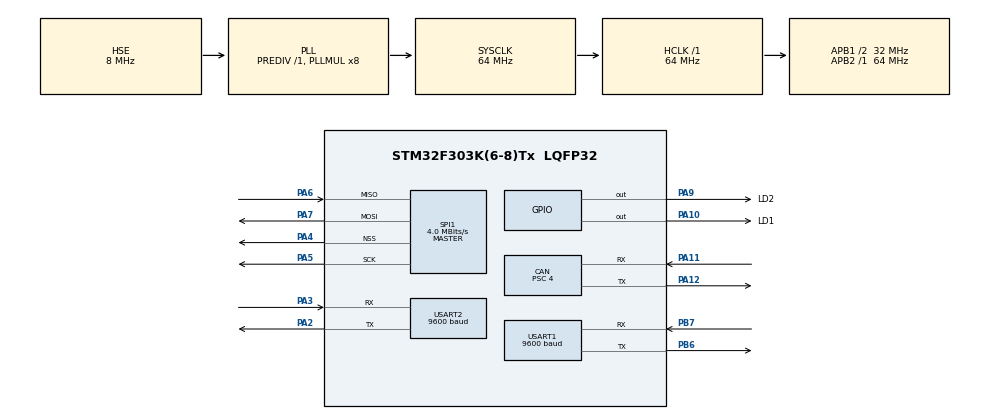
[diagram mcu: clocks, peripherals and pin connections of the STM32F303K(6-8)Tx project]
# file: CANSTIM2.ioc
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CAN.ABOM=ENABLE
CAN.AWUM=DISABLE
CAN.BS1=CAN_BS1_5TQ
CAN.BS2=CAN_BS2_2TQ
CAN.CalculateBaudRate=1000000
CAN.CalculateTimeBit=1000.00
CAN.CalculateTimeQuantum=125.0
CAN.Mode=CAN_MODE_NORMAL
CAN.NART=DISABLE
CAN.Prescaler=4
CAN.RFLM=DISABLE
CAN.SJW=CAN_SJW_2TQ
CAN.TTCM=DISABLE
CAN.TXFP=DISABLE
FREERTOS.BinarySemaphores01=ProcessCommandSem,Dynamic,NULL;MailboxAvailable,Dynamic,NULL
FREERTOS.Tasks01=CAN_Tx_MB0,24,128,StartCAN_Tx_MB0,Default,NULL,Dynamic,NULL,NULL;SendTelemetry,24,128,StartSendTelemetry,Default,NULL,Dynamic,NULL,NULL;CAN_Tx_MB1,24,128,StartCAN_Tx_MB1,Default,NULL,Dynamic,NULL,NULL;CAN_Tx_MB2,24,128,StartCAN_Tx_MB2,Default,NULL,Dynamic,NULL,NULL
FREERTOS.configUSE_IDLE_HOOK=1
Mcu.Family=STM32F3
Mcu.Name=STM32F303K(6-8)Tx
Mcu.Package=LQFP32
NVIC.CAN_RX0_IRQn=true\:5\:0\:false\:true\:true\:1\:true\:true\:true
NVIC.CAN_RX1_IRQn=true\:5\:0\:false\:true\:true\:2\:true\:true\:true
NVIC.CAN_TX_IRQn=true\:5\:0\:false\:false\:true\:true\:true\:true
NVIC.PriorityGroup=NVIC_PRIORITYGROUP_4
NVIC.SPI1_IRQn=true\:5\:0\:false\:false\:true\:true\:true\:true
NVIC.TIM1_UP_TIM16_IRQn=true\:0\:0\:false\:false\:true\:false\:false\:true
NVIC.TimeBase=TIM1_UP_TIM16_IRQn
NVIC.TimeBaseIP=TIM1
NVIC.USART2_IRQn=true\:5\:0\:false\:true\:true\:3\:true\:true\:true
PA10.GPIO_Label=LD1
PA10.Signal=GPIO_Output
PA11.Mode=CAN_Activate
PA11.Signal=CAN_RX
PA12.Mode=CAN_Activate
PA12.Signal=CAN_TX
PA13.Mode=JTAG_4_pins
PA13.Signal=SYS_JTMS-SWDIO
PA14.Mode=JTAG_4_pins
PA14.Signal=SYS_JTCK-SWCLK
PA15.Mode=JTAG_4_pins
PA15.Signal=SYS_JTDI
PA2.Mode=Asynchronous
PA2.Signal=USART2_TX
PA3.Mode=Asynchronous
PA3.Signal=USART2_RX
PA4.Mode=NSS_Signal_Hard_Output
PA4.Signal=SPI1_NSS
PA5.Mode=Full_Duplex_Master
PA5.Signal=SPI1_SCK
PA6.Mode=Full_Duplex_Master
PA6.Signal=SPI1_MISO
PA7.Mode=Full_Duplex_Master
PA7.Signal=SPI1_MOSI
PA9.GPIO_Label=LD2
PA9.Signal=GPIO_Output
PB3.Mode=JTAG_4_pins
PB3.Signal=SYS_JTDO-TRACESWO
PB6.Mode=Asynchronous
PB6.Signal=USART1_TX
PB7.Mode=Asynchronous
PB7.Signal=USART1_RX
PF0\ /\ OSC_IN.Mode=HSE-External-Oscillator
PF0\ /\ OSC_IN.Signal=RCC_OSC_IN
PF1\ /\ OSC_OUT.Mode=HSE-External-Oscillator
PF1\ /\ OSC_OUT.Signal=RCC_OSC_OUT
ProjectManager.HeapSize=0x200
ProjectManager.StackSize=0x400
ProjectManager.TargetToolchain=STM32CubeIDE
RCC.AHBFreq_Value=64000000
RCC.APB1CLKDivider=RCC_HCLK_DIV2
RCC.APB1Freq_Value=32000000
RCC.APB1TimFreq_Value=64000000
RCC.APB2Freq_Value=64000000
RCC.APB2TimFreq_Value=64000000
RCC.CortexFreq_Value=64000000
RCC.HCLKFreq_Value=64000000
RCC.HSE_VALUE=8000000
RCC.HSI_VALUE=8000000
RCC.PLLMUL=RCC_PLL_MUL8
RCC.PLLSourceVirtual=RCC_PLLSOURCE_HSE
RCC.SYSCLKFreq_VALUE=64000000
RCC.SYSCLKSourceVirtual=RCC_SYSCLKSOURCE_PLLCLK
SPI1.BaudRatePrescaler=SPI_BAUDRATEPRESCALER_16
SPI1.CLKPhase=SPI_PHASE_1EDGE
SPI1.CLKPolarity=SPI_POLARITY_HIGH
SPI1.CalculateBaudRate=4.0 MBits/s
SPI1.DataSize=SPI_DATASIZE_16BIT
SPI1.Direction=SPI_DIRECTION_2LINES
SPI1.FirstBit=SPI_FIRSTBIT_MSB
SPI1.Mode=SPI_MODE_MASTER
SPI1.NSSPMode=SPI_NSS_PULSE_DISABLE
SPI1.TIMode=SPI_TIMODE_DISABLE
SPI1.VirtualNSS=VM_NSSHARD
SPI1.VirtualType=VM_MASTER
USART1.BaudRate=9600
USART1.VirtualMode-Asynchronous=VM_ASYNC
USART2.BaudRate=9600
USART2.VirtualMode-Asynchronous=VM_ASYNC
VP_FREERTOS_VS_CMSIS_V2.Mode=CMSIS_V2
VP_SYS_VS_tim1.Mode=TIM1
board=custom

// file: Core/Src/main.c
/* USER CODE BEGIN Header */
/**
  ******************************************************************************
  * @file           : main.c
  * @brief          : Main program body
  ******************************************************************************
  * @attention
  *
  * <h2><center>&copy; Copyright (c) 2020 STMicroelectronics.
  * All rights reserved.</center></h2>
  *
  * This software component is licensed by ST under BSD 3-Clause license,
  * the "License"; You may not use this file except in compliance with the
  * License. You may obtain a copy of the License at:
  *                        opensource.org/licenses/BSD-3-Clause
  *
  ******************************************************************************
  */
/* USER CODE END Header */
#include "main.h"
#include "cmsis_os.h"

/* USER CODE BEGIN Includes */

//For sprintf and memcpy
#include "string.h"
//For atoi
#include "stdlib.h"
//For ceil()
#include "math.h"

#include "data.h"

/* USER CODE END Includes */

/* USER CODE BEGIN PD */

//UJA Register Definitions

#define UJA_REG_WDGANDSTATUS 0
#define UJA_REG_MODECONTROL 1
#define UJA_REG_INTCON 2
#define UJA_REG_INTREAD 3

//WD_and_Status register
//RO
#define UJA_RO_RW 0
#define UJA_RO_R 1

//WMC
#define UJA_WMC_WND 0
#define UJA_WMC_TO 1

//NWP
#define UJA_NWP_8 0
#define UJA_NWP_16 1
#define UJA_NWP_32 2
#define UJA_NWP_64 3
#define UJA_NWP_128 4
#define UJA_NWP_256 5
#define UJA_NWP_1024 6
#define UJA_NWP_4096 7

//Mode_Control register
#define UJA_MC_STBY 0
#define UJA_MC_SLP 1
#define UJA_MC_V2OFF 2
#define UJA_MC_V2ON 3

//Int_Control register
#define UJA_V1UIE_OFF 0
#define UJA_V1UIE_ON 1

#define UJA_V2UIE_OFF 0
#define UJA_V2UIE_ON 1

//Message struct parameter
#define MSG_ENABLED 1
#define MSG_DISABLED 0

//CAN Output Frame bits
#define CAN_TXFRAME0_SHUTDOWN 1
#define CAN_TXFRAME0_BIT2 1<<1

/* USER CODE END PD */

CAN_HandleTypeDef hcan;

SPI_HandleTypeDef hspi1;

UART_HandleTypeDef huart1;
UART_HandleTypeDef huart2;

/* Definitions for CAN_Tx_MB0 */
osThreadId_t CAN_Tx_MB0Handle;
const osThreadAttr_t CAN_Tx_MB0_attributes = {
  .name = "CAN_Tx_MB0",
  .priority = (osPriority_t) osPriorityNormal,
  .stack_size = 128 * 4
};
/* Definitions for SendTelemetry */
osThreadId_t SendTelemetryHandle;
const osThreadAttr_t SendTelemetry_attributes = {
  .name = "SendTelemetry",
  .priority = (osPriority_t) osPriorityNormal,
  .stack_size = 128 * 4
};
/* Definitions for CAN_Tx_MB1 */
osThreadId_t CAN_Tx_MB1Handle;
const osThreadAttr_t CAN_Tx_MB1_attributes = {
  .name = "CAN_Tx_MB1",
  .priority = (osPriority_t) osPriorityNormal,
  .stack_size = 128 * 4
};
/* Definitions for CAN_Tx_MB2 */
osThreadId_t CAN_Tx_MB2Handle;
const osThreadAttr_t CAN_Tx_MB2_attributes = {
  .name = "CAN_Tx_MB2",
  .priority = (osPriority_t) osPriorityNormal,
  .stack_size = 128 * 4
};
/* Definitions for ProcessCommandSem */
osSemaphoreId_t ProcessCommandSemHandle;
const osSemaphoreAttr_t ProcessCommandSem_attributes = {
  .name = "ProcessCommandSem"
};
/* Definitions for MailboxAvailable */
osSemaphoreId_t MailboxAvailableHandle;
const osSemaphoreAttr_t MailboxAvailable_attributes = {
  .name = "MailboxAvailable"
};
/* USER CODE BEGIN PV */

struct message {
	uint32_t id;
	uint8_t  bit;
	uint8_t length;
	int32_t value;
	uint8_t enabled;
};

struct message messageArray[16];

const struct message defaultMessageArray[16] = {

		{ 0x360,   0,  16,   -1,  MSG_ENABLED  },  //Engine RPM
		{ 0x360,  32,  16,   -1,  MSG_ENABLED  },  //Throttle Position

		{ 0x361,  16,  16,   -1,  MSG_ENABLED  },  //Oil Pressure

		{ 0x3E0,   0,  16,   -1,  MSG_ENABLED  },  //Coolant Temperature

		{ 0x390,   0,  16,   -1,  MSG_ENABLED  },  //Brake Pressure
		{ 0x390,   0,  16,   -1,  MSG_ENABLED  },  //Brake Bias
		{ 0x390,   0,  16,   -1,  MSG_ENABLED  },  //Lat Accel
		{ 0x390,   0,  16,   -1,  MSG_ENABLED  },  //Long Accel
		{ 0x390,   0,  16,   -1,  MSG_ENABLED  },  //GPS Speed
		{ 0x390,   0,  16,   -1,  MSG_ENABLED  },  //Oil Temperature

		{ 0x373,   0,  16,   -1,  MSG_ENABLED  },  //EGT 1

		{ 0x368,   0,  16,   -1,  MSG_ENABLED  },  //Wideband

		{ 0x3EB,  32,  16,   -1,  MSG_ENABLED  },  //Ignition Angle

		{     0x200,   0,   1,   -1,  MSG_ENABLED },  //Disabled
		{     0,   0,   0,   -1,  MSG_DISABLED },  //Disabled
		{     0,   0,   0,   -1,  MSG_DISABLED }   //Disabled
};

uint8_t can_rx_data[8];
CAN_RxHeaderTypeDef can_rx_header;

uint8_t can_tx_data[8] = {0, 0, 0, 0, 0, 0, 0, 0};

//RPM and Throttle Position
CAN_TxHeaderTypeDef can_tx_header12 = {0x360, 0, CAN_ID_STD, CAN_RTR_DATA, 8};

//Lateral accel
CAN_TxHeaderTypeDef can_tx_header3 = {0x36B, 0, CAN_ID_STD, CAN_RTR_DATA, 8};

//Oil pressure
CAN_TxHeaderTypeDef can_tx_header4 = {0x361, 0, CAN_ID_STD, CAN_RTR_DATA, 8};

//Lambda1
CAN_TxHeaderTypeDef can_tx_header5 = {0x368, 0, CAN_ID_STD, CAN_RTR_DATA, 8};

//ECU_EGTSensor1
CAN_TxHeaderTypeDef can_tx_header6 = {0x373, 0, CAN_ID_STD, CAN_RTR_DATA, 8};

//ECU_CoolantTemp and Oil temp
CAN_TxHeaderTypeDef can_tx_header78 = {0x3E0, 0, CAN_ID_STD, CAN_RTR_DATA, 8};

//GPS_Speed
CAN_TxHeaderTypeDef can_tx_header10 = {0x370, 0, CAN_ID_STD, CAN_RTR_DATA, 8};

uint8_t uart_rec_buff[24];
char uart_tx_buff[128];

uint8_t cmdcharbuff[24];
int8_t cmdcharbuffindex = 0;

const uint8_t WD_SETUP = (UJA_REG_WDGANDSTATUS << 5) | (UJA_RO_RW << 4) | (UJA_WMC_TO << 3) | (UJA_NWP_1024);

/* USER CODE END PV */

void SystemClock_Config(void);
static void MX_GPIO_Init(void);
static void MX_CAN_Init(void);
static void MX_SPI1_Init(void);
static void MX_USART2_UART_Init(void);
static void MX_USART1_UART_Init(void);
void StartCAN_Tx_MB0(void *argument);
void StartSendTelemetry(void *argument);
void StartCAN_Tx_MB1(void *argument);
void StartCAN_Tx_MB2(void *argument);

static void MX_NVIC_Init(void);
/* USER CODE BEGIN PFP */

void DebugPrint(char *msg);
void Init_SBC(void);
void ConfigureCANFilters(struct message * messageArray, uint8_t size);
void Init_CAN(void);

/* USER CODE END PFP */

/* USER CODE BEGIN 0 */

//Prints message to UART1 for debugging
void DebugPrint(char *msg) {
	HAL_UART_Transmit(&huart1, (uint8_t *)msg, strlen(msg), HAL_MAX_DELAY);
}

//Initializes UJA SBC
void Init_SBC(void) {
	HAL_StatusTypeDef result;
	uint16_t data[1];
	uint16_t rxdata[1];

	//Setup Mode Control register
	data[0] = 0;
	data[0] = (UJA_REG_MODECONTROL << 13) | (UJA_RO_RW << 12) | (UJA_MC_V2ON << 10);

	result = HAL_SPI_TransmitReceive(&hspi1, (uint8_t *)data, (uint8_t *)rxdata, 1, 100);

	while (hspi1.State != HAL_SPI_STATE_READY) {
		HAL_GPIO_WritePin(LD2_GPIO_Port, LD2_Pin, 1);
	}
	HAL_GPIO_WritePin(LD2_GPIO_Port, LD2_Pin, 0);
}

//Procedurally generates and sets CAN Filter configurations from the message[] struct array config
void ConfigureCANFilters(struct message * messageArray, uint8_t size) {
	uint32_t configuredIDs[size];
	int uniques = 0;
	for (int i = 0; i < size; i++) {
		struct message thismessage = messageArray[i];
		int create = 1;
		for (int j = 0; j < size; j++) {
			if (configuredIDs[j] == thismessage.id) {
				create = 0;
			}
		}
		if (create == 1 && thismessage.enabled) {
			//Add this ID to the list of already configured ID's to skip duplicates
			configuredIDs[uniques] = thismessage.id;
			DebugPrint("Creating new filter\r\n");
			CAN_FilterTypeDef filter;

			//This bit shifting was a massive PITA to figure out... see page 1092 of the RM for reasoning
			filter.FilterIdHigh = ((thismessage.id << 5)  | (thismessage.id >> (32 - 5))) & 0xFFFF;
			filter.FilterIdLow = (thismessage.id >> (11 - 3)) & 0xFFF8;

			//Masks set to full rank to check every bit against ID
			filter.FilterMaskIdHigh = 0xFFFF;
			filter.FilterMaskIdLow = 0xFFFF;

			//Filter options
			filter.FilterScale = CAN_FILTERSCALE_32BIT;
			filter.FilterActivation = ENABLE;
			filter.FilterMode = CAN_FILTERMODE_IDMASK;
			filter.FilterFIFOAssignment = CAN_FILTER_FIFO0;

			//Set filter bank to the current count of uniques
			filter.FilterBank = uniques;

			//Finally pass filter to HAL
			HAL_CAN_ConfigFilter(&hcan, &filter);
			uniques++;
		}
	}
}

void Init_CAN(void) {
	//Configure all receive filters from the config array
	ConfigureCANFilters(messageArray, sizeof(messageArray) / sizeof(struct message));

	//Start CAN operation
	HAL_CAN_Start(&hcan);

	//Enable IRQ's
	HAL_CAN_ActivateNotification(&hcan, CAN_IT_RX_FIFO0_MSG_PENDING);
	HAL_CAN_ActivateNotification(&hcan, CAN_IT_TX_MAILBOX_EMPTY);
	HAL_CAN_ActivateNotification(&hcan, CAN_TSR_RQCP0);
	HAL_CAN_ActivateNotification(&hcan, CAN_TSR_TXOK0);

	HAL_CAN_ActivateNotification(&hcan, CAN_TSR_RQCP1);
	HAL_CAN_ActivateNotification(&hcan, CAN_TSR_TXOK1);

	HAL_CAN_ActivateNotification(&hcan, CAN_TSR_RQCP2);
	HAL_CAN_ActivateNotification(&hcan, CAN_TSR_TXOK2);

	//Start receiving - don't think we need this here
	HAL_CAN_GetRxMessage(&hcan, CAN_RX_FIFO0, &can_rx_header, can_rx_data);
}

/* USER CODE END 0 */

int main(void)
{

  /* MCU Configuration--------------------------------------------------------*/

  /* Reset of all peripherals, Initializes the Flash interface and the Systick. */
  HAL_Init();

  /* Configure the system clock */
  SystemClock_Config();

  /* Initialize all configured peripherals */
  MX_GPIO_Init();
  MX_CAN_Init();
  MX_SPI1_Init();
  MX_USART2_UART_Init();
  MX_USART1_UART_Init();

  /* Initialize interrupts */
  MX_NVIC_Init();
  /* USER CODE BEGIN 2 */

  HAL_GPIO_WritePin(LD1_GPIO_Port, LD1_Pin, 0);
	HAL_GPIO_WritePin(LD2_GPIO_Port, LD2_Pin, 0);

	//Load default message configuration
	memcpy(&messageArray, &defaultMessageArray, sizeof(messageArray));

	Init_CAN();
	Init_SBC();

  //Start receiving UART
	HAL_UART_Receive_IT(&huart2, uart_rec_buff, 1);

  /* USER CODE END 2 */

  /* Init scheduler */
  osKernelInitialize();

  /* Create the semaphores(s) */
  /* creation of ProcessCommandSem */
  ProcessCommandSemHandle = osSemaphoreNew(1, 1, &ProcessCommandSem_attributes);

  /* creation of MailboxAvailable */
  MailboxAvailableHandle = osSemaphoreNew(1, 1, &MailboxAvailable_attributes);

  /* Create the thread(s) */
  /* creation of CAN_Tx_MB0 */
  CAN_Tx_MB0Handle = osThreadNew(StartCAN_Tx_MB0, NULL, &CAN_Tx_MB0_attributes);

  /* creation of SendTelemetry */
  SendTelemetryHandle = osThreadNew(StartSendTelemetry, NULL, &SendTelemetry_attributes);

  /* creation of CAN_Tx_MB1 */
  CAN_Tx_MB1Handle = osThreadNew(StartCAN_Tx_MB1, NULL, &CAN_Tx_MB1_attributes);

  /* creation of CAN_Tx_MB2 */
  CAN_Tx_MB2Handle = osThreadNew(StartCAN_Tx_MB2, NULL, &CAN_Tx_MB2_attributes);

  /* Start scheduler */
  osKernelStart();

  /* We should never get here as control is now taken by the scheduler */
  /* Infinite loop */
  while (1)
  {

  }
}

void SystemClock_Config(void)
{
  RCC_OscInitTypeDef RCC_OscInitStruct = {0};
  RCC_ClkInitTypeDef RCC_ClkInitStruct = {0};
  RCC_PeriphCLKInitTypeDef PeriphClkInit = {0};

  /** Initializes the RCC Oscillators according to the specified parameters
  * in the RCC_OscInitTypeDef structure.
  */
  RCC_OscInitStruct.OscillatorType = RCC_OSCILLATORTYPE_HSE;
  RCC_OscInitStruct.HSEState = RCC_HSE_ON;
  RCC_OscInitStruct.HSEPredivValue = RCC_HSE_PREDIV_DIV1;
  RCC_OscInitStruct.HSIState = RCC_HSI_ON;
  RCC_OscInitStruct.PLL.PLLState = RCC_PLL_ON;
  RCC_OscInitStruct.PLL.PLLSource = RCC_PLLSOURCE_HSE;
  RCC_OscInitStruct.PLL.PLLMUL = RCC_PLL_MUL8;
  if (HAL_RCC_OscConfig(&RCC_OscInitStruct) != HAL_OK)
  {
    Error_Handler();
  }
  /** Initializes the CPU, AHB and APB buses clocks
  */
  RCC_ClkInitStruct.ClockType = RCC_CLOCKTYPE_HCLK|RCC_CLOCKTYPE_SYSCLK
                              |RCC_CLOCKTYPE_PCLK1|RCC_CLOCKTYPE_PCLK2;
  RCC_ClkInitStruct.SYSCLKSource = RCC_SYSCLKSOURCE_PLLCLK;
  RCC_ClkInitStruct.AHBCLKDivider = RCC_SYSCLK_DIV1;
  RCC_ClkInitStruct.APB1CLKDivider = RCC_HCLK_DIV2;
  RCC_ClkInitStruct.APB2CLKDivider = RCC_HCLK_DIV1;

  if (HAL_RCC_ClockConfig(&RCC_ClkInitStruct, FLASH_LATENCY_2) != HAL_OK)
  {
    Error_Handler();
  }
  PeriphClkInit.PeriphClockSelection = RCC_PERIPHCLK_USART1;
  PeriphClkInit.Usart1ClockSelection = RCC_USART1CLKSOURCE_PCLK1;
  if (HAL_RCCEx_PeriphCLKConfig(&PeriphClkInit) != HAL_OK)
  {
    Error_Handler();
  }
}

/**
  * @brief NVIC Configuration.
  * @retval None
  */
static void MX_NVIC_Init(void)
{
  /* CAN_RX0_IRQn interrupt configuration */
  HAL_NVIC_SetPriority(CAN_RX0_IRQn, 5, 0);
  HAL_NVIC_EnableIRQ(CAN_RX0_IRQn);
  /* CAN_RX1_IRQn interrupt configuration */
  HAL_NVIC_SetPriority(CAN_RX1_IRQn, 5, 0);
  HAL_NVIC_EnableIRQ(CAN_RX1_IRQn);
  /* USART2_IRQn interrupt configuration */
  HAL_NVIC_SetPriority(USART2_IRQn, 5, 0);
  HAL_NVIC_EnableIRQ(USART2_IRQn);
}

static void MX_CAN_Init(void)
{

  hcan.Instance = CAN;
  hcan.Init.Prescaler = 4;
  hcan.Init.Mode = CAN_MODE_NORMAL;
  hcan.Init.SyncJumpWidth = CAN_SJW_2TQ;
  hcan.Init.TimeSeg1 = CAN_BS1_5TQ;
  hcan.Init.TimeSeg2 = CAN_BS2_2TQ;
  hcan.Init.TimeTriggeredMode = DISABLE;
  hcan.Init.AutoBusOff = ENABLE;
  hcan.Init.AutoWakeUp = DISABLE;
  hcan.Init.AutoRetransmission = DISABLE;
  hcan.Init.ReceiveFifoLocked = DISABLE;
  hcan.Init.TransmitFifoPriority = DISABLE;
  if (HAL_CAN_Init(&hcan) != HAL_OK)
  {
    Error_Handler();
  }

}

static void MX_SPI1_Init(void)
{

  /* SPI1 parameter configuration*/
  hspi1.Instance = SPI1;
  hspi1.Init.Mode = SPI_MODE_MASTER;
  hspi1.Init.Direction = SPI_DIRECTION_2LINES;
  hspi1.Init.DataSize = SPI_DATASIZE_16BIT;
  hspi1.Init.CLKPolarity = SPI_POLARITY_HIGH;
  hspi1.Init.CLKPhase = SPI_PHASE_1EDGE;
  hspi1.Init.NSS = SPI_NSS_HARD_OUTPUT;
  hspi1.Init.BaudRatePrescaler = SPI_BAUDRATEPRESCALER_16;
  hspi1.Init.FirstBit = SPI_FIRSTBIT_MSB;
  hspi1.Init.TIMode = SPI_TIMODE_DISABLE;
  hspi1.Init.CRCCalculation = SPI_CRCCALCULATION_DISABLE;
  hspi1.Init.CRCPolynomial = 7;
  hspi1.Init.CRCLength = SPI_CRC_LENGTH_DATASIZE;
  hspi1.Init.NSSPMode = SPI_NSS_PULSE_DISABLE;
  if (HAL_SPI_Init(&hspi1) != HAL_OK)
  {
    Error_Handler();
  }

}

static void MX_USART1_UART_Init(void)
{

  huart1.Instance = USART1;
  huart1.Init.BaudRate = 9600;
  huart1.Init.WordLength = UART_WORDLENGTH_8B;
  huart1.Init.StopBits = UART_STOPBITS_1;
  huart1.Init.Parity = UART_PARITY_NONE;
  huart1.Init.Mode = UART_MODE_TX_RX;
  huart1.Init.HwFlowCtl = UART_HWCONTROL_NONE;
  huart1.Init.OverSampling = UART_OVERSAMPLING_16;
  huart1.Init.OneBitSampling = UART_ONE_BIT_SAMPLE_DISABLE;
  huart1.AdvancedInit.AdvFeatureInit = UART_ADVFEATURE_NO_INIT;
  if (HAL_UART_Init(&huart1) != HAL_OK)
  {
    Error_Handler();
  }

}

static void MX_USART2_UART_Init(void)
{

  huart2.Instance = USART2;
  huart2.Init.BaudRate = 9600;
  huart2.Init.WordLength = UART_WORDLENGTH_8B;
  huart2.Init.StopBits = UART_STOPBITS_1;
  huart2.Init.Parity = UART_PARITY_NONE;
  huart2.Init.Mode = UART_MODE_TX_RX;
  huart2.Init.HwFlowCtl = UART_HWCONTROL_NONE;
  huart2.Init.OverSampling = UART_OVERSAMPLING_16;
  huart2.Init.OneBitSampling = UART_ONE_BIT_SAMPLE_DISABLE;
  huart2.AdvancedInit.AdvFeatureInit = UART_ADVFEATURE_NO_INIT;
  if (HAL_UART_Init(&huart2) != HAL_OK)
  {
    Error_Handler();
  }

}

static void MX_GPIO_Init(void)
{
  GPIO_InitTypeDef GPIO_InitStruct = {0};

  /* GPIO Ports Clock Enable */
  __HAL_RCC_GPIOF_CLK_ENABLE();
  __HAL_RCC_GPIOA_CLK_ENABLE();
  __HAL_RCC_GPIOB_CLK_ENABLE();

  /*Configure GPIO pin Output Level */
  HAL_GPIO_WritePin(GPIOA, LD2_Pin|LD1_Pin, GPIO_PIN_RESET);

  /*Configure GPIO pins : LD2_Pin LD1_Pin */
  GPIO_InitStruct.Pin = LD2_Pin|LD1_Pin;
  GPIO_InitStruct.Mode = GPIO_MODE_OUTPUT_PP;
  GPIO_InitStruct.Pull = GPIO_NOPULL;
  GPIO_InitStruct.Speed = GPIO_SPEED_FREQ_LOW;
  HAL_GPIO_Init(GPIOA, &GPIO_InitStruct);

}

/* USER CODE BEGIN 4 */

//IRQ's

void HAL_UART_RxCpltCallback(UART_HandleTypeDef *huart) {

	//Check if delete received from debug uart and only delete if theres entered characters
	if (uart_rec_buff[0] == (uint8_t)127 && huart == &huart1) {
		if (cmdcharbuffindex > 0) {
			DebugPrint((char *)uart_rec_buff);
			cmdcharbuffindex--;
		}
	} else {
		//Send char to debug console
		DebugPrint((char *)uart_rec_buff);

		//Check if enter or cmdbuff reaches its limit (prevents overflow)
		if (uart_rec_buff[0] == *(uint8_t *)"\r" || cmdcharbuffindex > 23) {
			DebugPrint("\n>");
			//Pass command onto task
			osSemaphoreRelease(ProcessCommandSemHandle);

		} else {
			cmdcharbuff[cmdcharbuffindex] = uart_rec_buff[0];
			cmdcharbuffindex++;
		}
	}
	//Start receiving again
	HAL_UART_Receive_IT(huart, uart_rec_buff, 1);
}

void HAL_CAN_RxFifo0MsgPendingCallback(CAN_HandleTypeDef *hcan)
{
	HAL_CAN_GetRxMessage(hcan, CAN_RX_FIFO0, &can_rx_header, can_rx_data);
	//HAL_GPIO_TogglePin(LD1_GPIO_Port,LD1_Pin);
	//Parse received bytes using message array
	for(int i=0; i < sizeof(messageArray) / sizeof(struct message); i++){
		if(messageArray[i].id == can_rx_header.StdId){
			//Calculate which byte position to start at
			int bytepos = messageArray[i].bit / 8;

			//Calculate number of bytes that need to be checked
			int bytes = ceil(messageArray[i].length / (float)8);

			uint32_t finalval = 0;
			int j = 0;
			//Iterate through all bytes that must be read for this message
			for (int b = bytepos; b < bytepos + bytes; b++) {
				uint8_t tempval;
				//If on last byte we may need to truncate unneeded parts dependent on length of data
				if (b == bytepos + bytes - 1) {
					//We need a left shift and a right shift to extract the bits we want
					uint8_t byteoffset = (messageArray[i].length - ((bytes-1) * 8));
					uint8_t leftshift = 8 - (messageArray[i].bit - (bytepos * 8)) - byteoffset;
					uint8_t rightshift = 8 - byteoffset;
					tempval = (can_rx_data[b] << leftshift) >>  rightshift;
				} else {
					//Use the whole byte
					tempval = can_rx_data[b];
				}
				//Calculate the size of the next data section to find the required shift
				int nextsize = messageArray[i].length - ((j+1) * 8);
				//Limit it to 0
				if (nextsize < 0) {
					nextsize = 0;
				}
				finalval += tempval << nextsize;
				j++;
			}
			//Finally set final value into message array struct
			messageArray[i].value = finalval;
		}
	}
}

void MailboxAvailable(void) {
	HAL_GPIO_TogglePin(LD2_GPIO_Port, LD2_Pin);
	osSemaphoreRelease(MailboxAvailableHandle);
}

void HAL_CAN_TxMailbox0CompleteCallback(CAN_HandleTypeDef *hcan) {
	MailboxAvailable();
}

void HAL_CAN_TxMailbox1CompleteCallback(CAN_HandleTypeDef *hcan) {
	MailboxAvailable();
}

void HAL_CAN_TxMailbox2CompleteCallback(CAN_HandleTypeDef *hcan) {
	MailboxAvailable();
}

/* USER CODE END 4 */

void StartCAN_Tx_MB0(void *argument)
{
  /* USER CODE BEGIN 5 */
  /* Infinite loop */

	uint8_t i = 5;
  for(;;)
  {
    osDelay(100);

    if (messageArray[13].value != 1) {

			HAL_GPIO_TogglePin(LD1_GPIO_Port, LD1_Pin);
			if (i > 149) {
				i = 5;
			}
			uint32_t mailbox;
			uint16_t value;

			//RPM
			value = (uint16_t)(carData[0][i]);
			can_tx_data[0] = value >> 8;
			can_tx_data[1] = value & 0xFF;

			can_tx_data[2] = 0;
			can_tx_data[3] = 0;

			//Throttle Pos
			value = (uint16_t)(carData[1][i] * 10);
			can_tx_data[4] = value >> 8;
			can_tx_data[5] = value & 0xFF;

			can_tx_data[6] = 0;
			can_tx_data[7] = 0;
			osSemaphoreAcquire(MailboxAvailableHandle, HAL_MAX_DELAY);
			HAL_CAN_AddTxMessage(&hcan, &can_tx_header12, can_tx_data, &mailbox);

			//Lat accel
			value = (int16_t)(carData[2][i] * 10.0 * 9.8);
			can_tx_data[0] = 0;
			can_tx_data[1] = 0;
			can_tx_data[2] = 0;
			can_tx_data[3] = 0;
			can_tx_data[4] = 0;
			can_tx_data[5] = 0;
			can_tx_data[6] = value >> 8;
			can_tx_data[7] = value & 0xFF;
			osSemaphoreAcquire(MailboxAvailableHandle, HAL_MAX_DELAY);
			HAL_CAN_AddTxMessage(&hcan, &can_tx_header3, can_tx_data, &mailbox);

			can_tx_data[0] = 0;
			can_tx_data[1] = 0;
			//Oil pressure
			value = (uint16_t)(carData[3][i] * 10 * 6.89476);
			can_tx_data[2] = value >> 8;
			can_tx_data[3] = value & 0xFF;

			can_tx_data[4] = 0;
			can_tx_data[5] = 0;
			can_tx_data[6] = 0;
			can_tx_data[7] = 0;
			osSemaphoreAcquire(MailboxAvailableHandle, HAL_MAX_DELAY);
			HAL_CAN_AddTxMessage(&hcan, &can_tx_header4, can_tx_data, &mailbox);

			//ECU_Lambda1
			value = (uint16_t)(carData[4][i] * 1000);
			can_tx_data[0] = value >> 8;
			can_tx_data[1] = value & 0xFF;
			can_tx_data[2] = 0;
			can_tx_data[3] = 0;
			can_tx_data[4] = 0;
			can_tx_data[5] = 0;
			can_tx_data[6] = 0;
			can_tx_data[7] = 0;
			osSemaphoreAcquire(MailboxAvailableHandle, HAL_MAX_DELAY);
			HAL_CAN_AddTxMessage(&hcan, &can_tx_header5, can_tx_data, &mailbox);

			//ECU_EGTSensor1
			value = (uint16_t)((carData[5][i] + 273.15) * 10);
			can_tx_data[0] = value >> 8;
			can_tx_data[1] = value & 0xFF;
			can_tx_data[2] = 0;
			can_tx_data[3] = 0;
			can_tx_data[4] = 0;
			can_tx_data[5] = 0;
			can_tx_data[6] = 0;
			can_tx_data[7] = 0;
			osSemaphoreAcquire(MailboxAvailableHandle, HAL_MAX_DELAY);
			HAL_CAN_AddTxMessage(&hcan, &can_tx_header6, can_tx_data, &mailbox);

			//ECU_CoolantTemp and Oil temp
			value = (uint16_t)((carData[6][i] + 273.15) * 10);
			can_tx_data[0] = value >> 8;
			can_tx_data[1] = value & 0xFF;
			can_tx_data[2] = 0;
			can_tx_data[3] = 0;
			can_tx_data[4] = 0;
			can_tx_data[5] = 0;
			value = (uint16_t)((carData[8][i] + 273.15) * 10);
			can_tx_data[6] = value >> 8;
			can_tx_data[7] = value & 0xFF;
			osSemaphoreAcquire(MailboxAvailableHandle, HAL_MAX_DELAY);
			HAL_CAN_AddTxMessage(&hcan, &can_tx_header78, can_tx_data, &mailbox);

			//Speed
			value = (uint16_t)(carData[9][i] * 10);
			can_tx_data[0] = value >> 8;
			can_tx_data[1] = value & 0xFF;
			can_tx_data[2] = 0;
			can_tx_data[3] = 0;
			can_tx_data[4] = 0;
			can_tx_data[5] = 0;
			can_tx_data[6] = 0;
			can_tx_data[7] = 0;
			osSemaphoreAcquire(MailboxAvailableHandle, HAL_MAX_DELAY);
			HAL_CAN_AddTxMessage(&hcan, &can_tx_header10, can_tx_data, &mailbox);
			i++;
    }
  }
  /* USER CODE END 5 */
}

void StartSendTelemetry(void *argument)
{
  /* USER CODE BEGIN StartSendTelemetry */
  /* Infinite loop */
  for(;;)
  {
    osDelay(100);

  }
  /* USER CODE END StartSendTelemetry */
}

void StartCAN_Tx_MB1(void *argument)
{
  for(;;)
  {
    osDelay(1);
  }
}

void StartCAN_Tx_MB2(void *argument)
{
  for(;;)
  {
    osDelay(1);
  }
}

 /**
  * @brief  Period elapsed callback in non blocking mode
  * @note   This function is called  when TIM1 interrupt took place, inside
  * HAL_TIM_IRQHandler(). It makes a direct call to HAL_IncTick() to increment
  * a global variable "uwTick" used as application time base.
  * @param  htim : TIM handle
  * @retval None
  */
void HAL_TIM_PeriodElapsedCallback(TIM_HandleTypeDef *htim)
{
  if (htim->Instance == TIM1) {
    HAL_IncTick();
  }
}

void Error_Handler(void)
{
}

/************************ (C) COPYRIGHT STMicroelectronics *****END OF FILE****/
